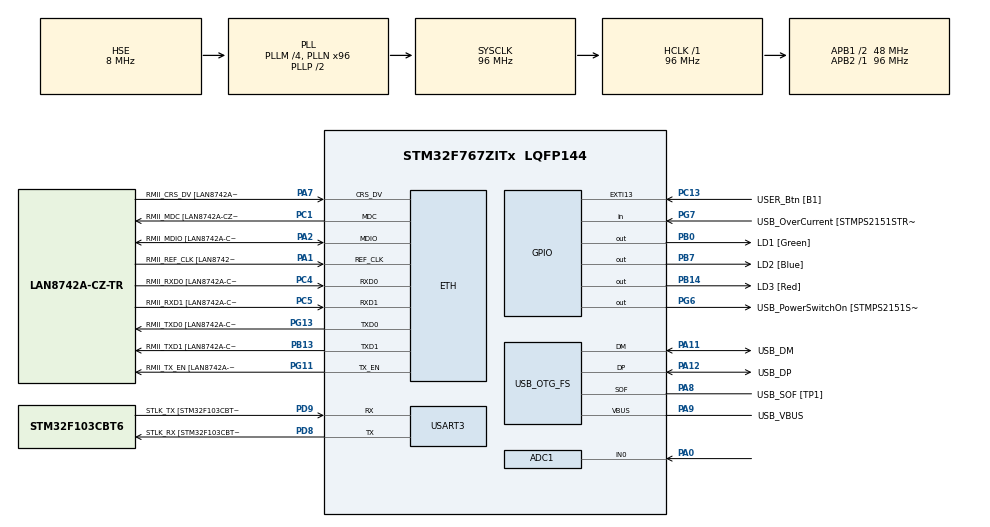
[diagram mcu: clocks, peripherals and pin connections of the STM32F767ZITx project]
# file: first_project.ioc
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ADC1.Channel-4\#ChannelRegularConversion=ADC_CHANNEL_0
ADC1.NbrOfConversion=1
ADC1.NbrOfConversionFlag=1
ADC1.Rank-4\#ChannelRegularConversion=1
ADC1.Resolution=ADC_RESOLUTION_10B
ADC1.SamplingTime-4\#ChannelRegularConversion=ADC_SAMPLETIME_3CYCLES
ADC1.master=1
ETH.MediaInterface=HAL_ETH_RMII_MODE
ETH.PHY_Name=LAN8742A_PHY_ADDRESS
ETH.PHY_Value=0
ETH.PhyAddress=0
Mcu.Family=STM32F7
Mcu.Name=STM32F767ZITx
Mcu.Package=LQFP144
NVIC.PriorityGroup=NVIC_PRIORITYGROUP_4
PA0/WKUP.Signal=ADCx_IN0
PA1.GPIO_Label=RMII_REF_CLK [LAN8742A-CZ-TR_REFCLK0]
PA1.Mode=RMII
PA1.Signal=ETH_REF_CLK
PA10.GPIO_Label=USB_ID
PA10.Signal=USB_OTG_FS_ID
PA11.GPIO_Label=USB_DM
PA11.Mode=Device_Only
PA11.Signal=USB_OTG_FS_DM
PA12.GPIO_Label=USB_DP
PA12.Mode=Device_Only
PA12.Signal=USB_OTG_FS_DP
PA13.GPIO_Label=TMS
PA13.Mode=Serial_Wire
PA13.Signal=SYS_JTMS-SWDIO
PA14.GPIO_Label=TCK
PA14.Mode=Serial_Wire
PA14.Signal=SYS_JTCK-SWCLK
PA2.GPIO_Label=RMII_MDIO [LAN8742A-CZ-TR_MDIO]
PA2.Mode=RMII
PA2.Signal=ETH_MDIO
PA7.GPIO_Label=RMII_CRS_DV [LAN8742A-CZ-TR_CRS_DV]
PA7.Mode=RMII
PA7.Signal=ETH_CRS_DV
PA8.GPIO_Label=USB_SOF [TP1]
PA8.Mode=Activate_SOF_FS
PA8.Signal=USB_OTG_FS_SOF
PA9.GPIO_Label=USB_VBUS
PA9.Mode=Activate_VBUS
PA9.Signal=USB_OTG_FS_VBUS
PB0.GPIO_Label=LD1 [Green]
PB0.Signal=GPIO_Output
PB13.GPIO_Label=RMII_TXD1 [LAN8742A-CZ-TR_TXD1]
PB13.Mode=RMII
PB13.Signal=ETH_TXD1
PB14.GPIO_Label=LD3 [Red]
PB14.Signal=GPIO_Output
PB3.GPIO_Label=SWO
PB3.Signal=SYS_JTDO-SWO
PB7.GPIO_Label=LD2 [Blue]
PB7.Signal=GPIO_Output
PC1.GPIO_Label=RMII_MDC [LAN8742A-CZ-TR_MDC]
PC1.Mode=RMII
PC1.Signal=ETH_MDC
PC13.GPIO_Label=USER_Btn [B1]
PC13.Signal=GPXTI13
PC14/OSC32_IN.Mode=LSE-External-Oscillator
PC14/OSC32_IN.Signal=RCC_OSC32_IN
PC15/OSC32_OUT.Mode=LSE-External-Oscillator
PC15/OSC32_OUT.Signal=RCC_OSC32_OUT
PC4.GPIO_Label=RMII_RXD0 [LAN8742A-CZ-TR_RXD0]
PC4.Mode=RMII
PC4.Signal=ETH_RXD0
PC5.GPIO_Label=RMII_RXD1 [LAN8742A-CZ-TR_RXD1]
PC5.Mode=RMII
PC5.Signal=ETH_RXD1
PD8.GPIO_Label=STLK_RX [STM32F103CBT6_PA3]
PD8.Mode=Asynchronous
PD8.Signal=USART3_TX
PD9.GPIO_Label=STLK_TX [STM32F103CBT6_PA2]
PD9.Mode=Asynchronous
PD9.Signal=USART3_RX
PG11.GPIO_Label=RMII_TX_EN [LAN8742A-CZ-TR_TXEN]
PG11.Mode=RMII
PG11.Signal=ETH_TX_EN
PG13.GPIO_Label=RMII_TXD0 [LAN8742A-CZ-TR_TXD0]
PG13.Mode=RMII
PG13.Signal=ETH_TXD0
PG6.GPIO_Label=USB_PowerSwitchOn [STMPS2151STR_EN]
PG6.Signal=GPIO_Output
PG7.GPIO_Label=USB_OverCurrent [STMPS2151STR_FAULT]
PG7.Signal=GPIO_Input
PH0/OSC_IN.GPIO_Label=MCO [STM32F103CBT6_PA8]
PH0/OSC_IN.Mode=HSE-External-Clock-Source
PH0/OSC_IN.Signal=RCC_OSC_IN
PH1/OSC_OUT.Mode=HSE-External-Clock-Source
PH1/OSC_OUT.Signal=RCC_OSC_OUT
ProjectManager.HeapSize=0x200
ProjectManager.StackSize=0x400
ProjectManager.TargetToolchain=STM32CubeIDE
RCC.48MHZClocksFreq_Value=24000000
RCC.AHBFreq_Value=96000000
RCC.APB1CLKDivider=RCC_HCLK_DIV2
RCC.APB1Freq_Value=48000000
RCC.APB1TimFreq_Value=96000000
RCC.APB2Freq_Value=96000000
RCC.APB2TimFreq_Value=96000000
RCC.CortexFreq_Value=96000000
RCC.HCLKFreq_Value=96000000
RCC.HSE_VALUE=8000000
RCC.HSI_VALUE=16000000
RCC.PLLM=4
RCC.PLLMUL=RCC_PLL_MUL9
RCC.PLLN=96
RCC.PLLQ=4
RCC.PRESCALERUSB=RCC_USBCLKSOURCE_PLL_DIV1_5
RCC.SYSCLKFreq_VALUE=96000000
RCC.SYSCLKSource=RCC_SYSCLKSOURCE_PLLCLK
RCC.SYSCLKSourceVirtual=RCC_SYSCLKSOURCE_PLLCLK
RCC.USBFreq_Value=48000000
RCC.VCOOutputFreq_Value=192000000
SH.ADCx_IN0.0=ADC1_IN0,IN0
USART3.VirtualMode-Asynchronous=VM_ASYNC
USB_OTG_FS.VirtualMode=Device_Only
board=NUCLEO-F767ZI

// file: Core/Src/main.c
/* USER CODE BEGIN Header */
/**
  ******************************************************************************
  * @file           : main.c
  * @brief          : Main program body
  ******************************************************************************
  * @attention
  *
  * Copyright (c) 2023 STMicroelectronics.
  * All rights reserved.
  *
  * This software is licensed under terms that can be found in the LICENSE file
  * in the root directory of this software component.
  * If no LICENSE file comes with this software, it is provided AS-IS.
  *
  ******************************************************************************
  */
/* USER CODE END Header */
#include "main.h"
#include "string.h"
#include "math.h"

#if defined ( __ICCARM__ ) /*!< IAR Compiler */
#pragma location=0x2007c000
ETH_DMADescTypeDef  DMARxDscrTab[ETH_RX_DESC_CNT]; /* Ethernet Rx DMA Descriptors */
#pragma location=0x2007c0a0
ETH_DMADescTypeDef  DMATxDscrTab[ETH_TX_DESC_CNT]; /* Ethernet Tx DMA Descriptors */

#elif defined ( __CC_ARM )  /* MDK ARM Compiler */

__attribute__((at(0x2007c000))) ETH_DMADescTypeDef  DMARxDscrTab[ETH_RX_DESC_CNT]; /* Ethernet Rx DMA Descriptors */
__attribute__((at(0x2007c0a0))) ETH_DMADescTypeDef  DMATxDscrTab[ETH_TX_DESC_CNT]; /* Ethernet Tx DMA Descriptors */

#elif defined ( __GNUC__ ) /* GNU Compiler */
ETH_DMADescTypeDef DMARxDscrTab[ETH_RX_DESC_CNT] __attribute__((section(".RxDecripSection"))); /* Ethernet Rx DMA Descriptors */
ETH_DMADescTypeDef DMATxDscrTab[ETH_TX_DESC_CNT] __attribute__((section(".TxDecripSection")));   /* Ethernet Tx DMA Descriptors */

#endif

ETH_TxPacketConfig TxConfig;

ADC_HandleTypeDef hadc1;

ETH_HandleTypeDef heth;

UART_HandleTypeDef huart3;

PCD_HandleTypeDef hpcd_USB_OTG_FS;

void SystemClock_Config(void);
static void MX_GPIO_Init(void);
static void MX_ETH_Init(void);
static void MX_USART3_UART_Init(void);
static void MX_USB_OTG_FS_PCD_Init(void);
static void MX_ADC1_Init(void);
/* USER CODE BEGIN PFP */

int _write(int file, char *ptr, int len)
{
	int i = 0;
	for(i = 0; i < len; i++)
	{
		ITM_SendChar((*ptr++));
	}
	return len;
}

/* USER CODE END PFP */

int main(void)
{
  /* USER CODE BEGIN 1 */

	const short Fs = 1000;		// Sampling frequency(Hz)
	//const int 	Ts = 1e6/Fs;	// Sampling period (us)
	const int 	Ts = 1e3/Fs;	// Sampling period (us)
	//ADC configuration
	const uint8_t adc_bits = 10; // The resolution of your MCU's ADC
	const uint8_t default_bits = 10; // Don't change!
	const float vref = 5; // Reference voltage of MCU's ADC (V)
	const float default_vref = 5 ;// Default reference voltage of the Arduino Uno (V) Don't Change
	const float adc_scale = pow(2,default_bits-adc_bits)*vref/default_vref; // Scales the input signal
	const float emg_offset = 1.45; // DC offset of the Mam Sense Board EMG output. (V)
	const float sig_offset = round(pow(2,default_bits)*emg_offset/default_vref);

	const short f0 = 50;      // Cut-off frequency of the notch filter(Hz).
	const short f1 = 150;     // Second cut-off frequency(Hz). (Must be integer multiple of f0)
	const float w0 = 2*3.1416*f0/Fs;  // Digital cut-off frequency (rad/sample)
	const float w1 = 2*3.1416*f1/Fs;  //
	const float p = 0.95;     //Quailty factor. Must be between 0.8 and 0.995. Default value: 0.95

	const float mag = (1 -2*cos(w0) +1)/(1 -2*p*cos(w0) + p*p); // Find magnitude of the filter at w=0 to set the DC gain to 1;

	//Create the coefficient matrices for notch filter at f0
	const float num[3] = {1/mag,  -2*cos(w0)/mag, 1/mag};
	const float den[3] = {1, -2*p*cos(w0),  p*p};

	//Optional dual frequency notch filter. Comment this code block out to use dual frequency notch filter
	// Create the coefficient matrices for notch filter at f1
	const float mag2 = (1 -2*cos(w1) +1)/(1 -2*p*cos(w1) + p*p);
	const float num2[3] = {1/mag2,  -2*cos(w1)/mag2, 1/mag2};
	const float den2[3] = {1, -2*p*cos(w1),  p*p};

	//Convolve two filters to obtain dual notch filter at frequencies f0 and f1
	const float num3[5] = {num[0]*num2[0], num2[0]*num[1]+num2[1]*num[0], num2[0]*num[2] + num2[1]*num[1] + num2[2]*num[0], num2[1]*num[2]+num2[2]*num[1], num2[2]*num[2]};
	const float den3[5] = {1, den2[0]*den[1]+den2[1]*den[0], den2[0]*den[2] + den2[1]*den[1] + den2[2]*den[0], den2[1]*den[2]+den2[2]*den[1], den2[2]*den[2]};

	unsigned long start_time=0;
	unsigned long current_time=0;
	short raw[100] =  {0};
	short emg[100] = {0};
	unsigned long count=4;

	float curr_avg,prev_avg; // Variables to store current and previous average
	const float alpha = 0.1;  // Moving average coefficient. If hand movements are not detected change this number.
	const float prev_alpha = 1 - alpha;
	const int avg_thrsh = 35; //If noise is detected as hand movements increase this threshold. If hand movements are not detected decrease it.

  /* USER CODE END 1 */

  /* MCU Configuration--------------------------------------------------------*/

  /* Reset of all peripherals, Initializes the Flash interface and the Systick. */
  HAL_Init();

  /* Configure the system clock */
  SystemClock_Config();

  /* Initialize all configured peripherals */
  MX_GPIO_Init();
  MX_ETH_Init();
  MX_USART3_UART_Init();
  MX_USB_OTG_FS_PCD_Init();
  MX_ADC1_Init();
  /* USER CODE BEGIN 2 */
  printf("Hello world!\n");
  start_time = HAL_GetTick();
  /* USER CODE END 2 */

  /* Infinite loop */
  /* USER CODE BEGIN WHILE */
  while (1)
  {
	  current_time = HAL_GetTick();

	  if(current_time - start_time >= Ts)
	  {
		  start_time = current_time;

		  HAL_ADC_Start(&hadc1);
		  HAL_ADC_PollForConversion(&hadc1, HAL_MAX_DELAY);
		  raw[count%100] = round( HAL_ADC_GetValue(&hadc1)*adc_scale-sig_offset);

		  emg[count%100] = round(raw[count%100]*num3[0] + raw[(count-1)%100]*num3[1] + raw[(count-2)%100]*num3[2] + raw[(count-3)%100]*num3[3] + raw[(count-4)%100]*num3[4] - emg[(count-1)%100]*den3[1] - emg[(count-2)%100]*den3[2] - emg[(count-3)%100]*den3[3] - emg[(count-4)%100]*den3[4] );

		  printf("%d\n",emg[count%100]);
	  }

    /* USER CODE END WHILE */

  }
}

void SystemClock_Config(void)
{
  RCC_OscInitTypeDef RCC_OscInitStruct = {0};
  RCC_ClkInitTypeDef RCC_ClkInitStruct = {0};

  /** Configure LSE Drive Capability
  */
  HAL_PWR_EnableBkUpAccess();

  /** Configure the main internal regulator output voltage
  */
  __HAL_RCC_PWR_CLK_ENABLE();
  __HAL_PWR_VOLTAGESCALING_CONFIG(PWR_REGULATOR_VOLTAGE_SCALE3);

  /** Initializes the RCC Oscillators according to the specified parameters
  * in the RCC_OscInitTypeDef structure.
  */
  RCC_OscInitStruct.OscillatorType = RCC_OSCILLATORTYPE_HSE;
  RCC_OscInitStruct.HSEState = RCC_HSE_BYPASS;
  RCC_OscInitStruct.PLL.PLLState = RCC_PLL_ON;
  RCC_OscInitStruct.PLL.PLLSource = RCC_PLLSOURCE_HSE;
  RCC_OscInitStruct.PLL.PLLM = 4;
  RCC_OscInitStruct.PLL.PLLN = 96;
  RCC_OscInitStruct.PLL.PLLP = RCC_PLLP_DIV2;
  RCC_OscInitStruct.PLL.PLLQ = 4;
  RCC_OscInitStruct.PLL.PLLR = 2;
  if (HAL_RCC_OscConfig(&RCC_OscInitStruct) != HAL_OK)
  {
    Error_Handler();
  }

  /** Activate the Over-Drive mode
  */
  if (HAL_PWREx_EnableOverDrive() != HAL_OK)
  {
    Error_Handler();
  }

  /** Initializes the CPU, AHB and APB buses clocks
  */
  RCC_ClkInitStruct.ClockType = RCC_CLOCKTYPE_HCLK|RCC_CLOCKTYPE_SYSCLK
                              |RCC_CLOCKTYPE_PCLK1|RCC_CLOCKTYPE_PCLK2;
  RCC_ClkInitStruct.SYSCLKSource = RCC_SYSCLKSOURCE_PLLCLK;
  RCC_ClkInitStruct.AHBCLKDivider = RCC_SYSCLK_DIV1;
  RCC_ClkInitStruct.APB1CLKDivider = RCC_HCLK_DIV2;
  RCC_ClkInitStruct.APB2CLKDivider = RCC_HCLK_DIV1;

  if (HAL_RCC_ClockConfig(&RCC_ClkInitStruct, FLASH_LATENCY_3) != HAL_OK)
  {
    Error_Handler();
  }
}

static void MX_ADC1_Init(void)
{

  ADC_ChannelConfTypeDef sConfig = {0};

  /** Configure the global features of the ADC (Clock, Resolution, Data Alignment and number of conversion)
  */
  hadc1.Instance = ADC1;
  hadc1.Init.ClockPrescaler = ADC_CLOCK_SYNC_PCLK_DIV4;
  hadc1.Init.Resolution = ADC_RESOLUTION_10B;
  hadc1.Init.ScanConvMode = ADC_SCAN_DISABLE;
  hadc1.Init.ContinuousConvMode = DISABLE;
  hadc1.Init.DiscontinuousConvMode = DISABLE;
  hadc1.Init.ExternalTrigConvEdge = ADC_EXTERNALTRIGCONVEDGE_NONE;
  hadc1.Init.ExternalTrigConv = ADC_SOFTWARE_START;
  hadc1.Init.DataAlign = ADC_DATAALIGN_RIGHT;
  hadc1.Init.NbrOfConversion = 1;
  hadc1.Init.DMAContinuousRequests = DISABLE;
  hadc1.Init.EOCSelection = ADC_EOC_SINGLE_CONV;
  if (HAL_ADC_Init(&hadc1) != HAL_OK)
  {
    Error_Handler();
  }

  /** Configure for the selected ADC regular channel its corresponding rank in the sequencer and its sample time.
  */
  sConfig.Channel = ADC_CHANNEL_0;
  sConfig.Rank = ADC_REGULAR_RANK_1;
  sConfig.SamplingTime = ADC_SAMPLETIME_3CYCLES;
  if (HAL_ADC_ConfigChannel(&hadc1, &sConfig) != HAL_OK)
  {
    Error_Handler();
  }

}

static void MX_ETH_Init(void)
{

   static uint8_t MACAddr[6];

  heth.Instance = ETH;
  MACAddr[0] = 0x00;
  MACAddr[1] = 0x80;
  MACAddr[2] = 0xE1;
  MACAddr[3] = 0x00;
  MACAddr[4] = 0x00;
  MACAddr[5] = 0x00;
  heth.Init.MACAddr = &MACAddr[0];
  heth.Init.MediaInterface = HAL_ETH_RMII_MODE;
  heth.Init.TxDesc = DMATxDscrTab;
  heth.Init.RxDesc = DMARxDscrTab;
  heth.Init.RxBuffLen = 1524;

  if (HAL_ETH_Init(&heth) != HAL_OK)
  {
    Error_Handler();
  }

  memset(&TxConfig, 0 , sizeof(ETH_TxPacketConfig));
  TxConfig.Attributes = ETH_TX_PACKETS_FEATURES_CSUM | ETH_TX_PACKETS_FEATURES_CRCPAD;
  TxConfig.ChecksumCtrl = ETH_CHECKSUM_IPHDR_PAYLOAD_INSERT_PHDR_CALC;
  TxConfig.CRCPadCtrl = ETH_CRC_PAD_INSERT;

}

static void MX_USART3_UART_Init(void)
{

  huart3.Instance = USART3;
  huart3.Init.BaudRate = 115200;
  huart3.Init.WordLength = UART_WORDLENGTH_8B;
  huart3.Init.StopBits = UART_STOPBITS_1;
  huart3.Init.Parity = UART_PARITY_NONE;
  huart3.Init.Mode = UART_MODE_TX_RX;
  huart3.Init.HwFlowCtl = UART_HWCONTROL_NONE;
  huart3.Init.OverSampling = UART_OVERSAMPLING_16;
  huart3.Init.OneBitSampling = UART_ONE_BIT_SAMPLE_DISABLE;
  huart3.AdvancedInit.AdvFeatureInit = UART_ADVFEATURE_NO_INIT;
  if (HAL_UART_Init(&huart3) != HAL_OK)
  {
    Error_Handler();
  }

}

static void MX_USB_OTG_FS_PCD_Init(void)
{

  hpcd_USB_OTG_FS.Instance = USB_OTG_FS;
  hpcd_USB_OTG_FS.Init.dev_endpoints = 6;
  hpcd_USB_OTG_FS.Init.speed = PCD_SPEED_FULL;
  hpcd_USB_OTG_FS.Init.dma_enable = DISABLE;
  hpcd_USB_OTG_FS.Init.phy_itface = PCD_PHY_EMBEDDED;
  hpcd_USB_OTG_FS.Init.Sof_enable = ENABLE;
  hpcd_USB_OTG_FS.Init.low_power_enable = DISABLE;
  hpcd_USB_OTG_FS.Init.lpm_enable = DISABLE;
  hpcd_USB_OTG_FS.Init.vbus_sensing_enable = ENABLE;
  hpcd_USB_OTG_FS.Init.use_dedicated_ep1 = DISABLE;
  if (HAL_PCD_Init(&hpcd_USB_OTG_FS) != HAL_OK)
  {
    Error_Handler();
  }

}

static void MX_GPIO_Init(void)
{
  GPIO_InitTypeDef GPIO_InitStruct = {0};

  /* GPIO Ports Clock Enable */
  __HAL_RCC_GPIOC_CLK_ENABLE();
  __HAL_RCC_GPIOH_CLK_ENABLE();
  __HAL_RCC_GPIOA_CLK_ENABLE();
  __HAL_RCC_GPIOB_CLK_ENABLE();
  __HAL_RCC_GPIOD_CLK_ENABLE();
  __HAL_RCC_GPIOG_CLK_ENABLE();

  /*Configure GPIO pin Output Level */
  HAL_GPIO_WritePin(GPIOB, LD1_Pin|LD3_Pin|LD2_Pin, GPIO_PIN_RESET);

  /*Configure GPIO pin Output Level */
  HAL_GPIO_WritePin(USB_PowerSwitchOn_GPIO_Port, USB_PowerSwitchOn_Pin, GPIO_PIN_RESET);

  /*Configure GPIO pin : USER_Btn_Pin */
  GPIO_InitStruct.Pin = USER_Btn_Pin;
  GPIO_InitStruct.Mode = GPIO_MODE_IT_RISING;
  GPIO_InitStruct.Pull = GPIO_NOPULL;
  HAL_GPIO_Init(USER_Btn_GPIO_Port, &GPIO_InitStruct);

  /*Configure GPIO pins : LD1_Pin LD3_Pin LD2_Pin */
  GPIO_InitStruct.Pin = LD1_Pin|LD3_Pin|LD2_Pin;
  GPIO_InitStruct.Mode = GPIO_MODE_OUTPUT_PP;
  GPIO_InitStruct.Pull = GPIO_NOPULL;
  GPIO_InitStruct.Speed = GPIO_SPEED_FREQ_LOW;
  HAL_GPIO_Init(GPIOB, &GPIO_InitStruct);

  /*Configure GPIO pin : USB_PowerSwitchOn_Pin */
  GPIO_InitStruct.Pin = USB_PowerSwitchOn_Pin;
  GPIO_InitStruct.Mode = GPIO_MODE_OUTPUT_PP;
  GPIO_InitStruct.Pull = GPIO_NOPULL;
  GPIO_InitStruct.Speed = GPIO_SPEED_FREQ_LOW;
  HAL_GPIO_Init(USB_PowerSwitchOn_GPIO_Port, &GPIO_InitStruct);

  /*Configure GPIO pin : USB_OverCurrent_Pin */
  GPIO_InitStruct.Pin = USB_OverCurrent_Pin;
  GPIO_InitStruct.Mode = GPIO_MODE_INPUT;
  GPIO_InitStruct.Pull = GPIO_NOPULL;
  HAL_GPIO_Init(USB_OverCurrent_GPIO_Port, &GPIO_InitStruct);

}

void Error_Handler(void)
{
  __disable_irq();
  while (1)
  {
  }
}
